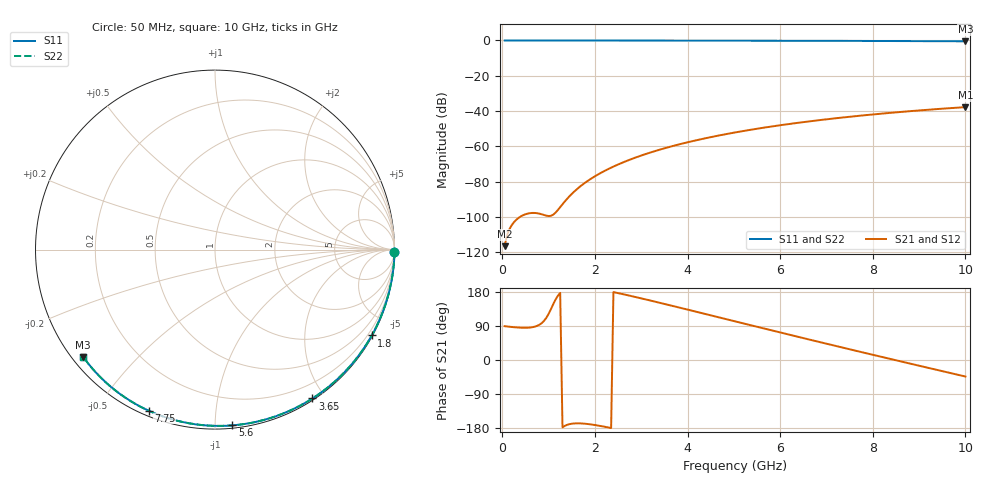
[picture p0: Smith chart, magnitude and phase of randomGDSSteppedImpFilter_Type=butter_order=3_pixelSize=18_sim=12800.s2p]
! freq	dB(S11)	phase(S11)	dB(S12)	phase(S12)
!  dB(S21)	phase(S21)	dB(S22)	phase(S22)
!S-par simulation data
#  GHz  S  DB  R 50
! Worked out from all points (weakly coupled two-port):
!   200 points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, 50 MHz to 10 GHz, reference 50 ohm
!   highest |S21| = -37.79 dB at 10 GHz (marker M1); lowest = -116.6 dB at 50 MHz (marker M2)
!   lowest |S11| = -0.5 dB at 10 GHz (marker M3), VSWR 36.55, Z = 1.54 - j17.8 ohm
!   |S11| at or under -10 dB: nowhere
!   |S22| runs from -0.5 to 0.0 dB; largest |S21 - S12| = 0
!   S11 on the Smith chart (normalised r, x): 50 MHz: open; 1.8 GHz: 0.03, -3.91; 3.65 GHz: 0.02, -1.85; 5.6 GHz: 0.02, -1.10; 7.75 GHz: 0.02, -0.67; 10 GHz: 0.03, -0.36
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0.05  -0.00 -0.8  -116.60 89.3  -116.60 89.3  -0.00 -0.8
0.45  -0.01 -7.3  -99.03 85.0  -99.03 85.0  -0.01 -7.3
0.9  -0.02 -14.5  -98.90 103.1  -98.90 103.1  -0.02 -14.5
1.75  -0.04 -27.9  -81.37 -167.8  -81.37 -167.8  -0.04 -27.9
1.8  -0.04 -28.7  -80.41 -168.3  -80.41 -168.3  -0.04 -28.7
1.85  -0.04 -29.5  -79.51 -169.0  -79.51 -169.0  -0.04 -29.5
2.05  -0.04 -32.6  -76.22 -172.6  -76.22 -172.6  -0.04 -32.6
2.2  -0.04 -34.9  -74.06 -175.9  -74.06 -175.9  -0.04 -34.9
2.55  -0.05 -40.3  -69.73 175.2  -69.73 175.2  -0.05 -40.3
2.95  -0.06 -46.4  -65.68 164.1  -65.68 164.1  -0.06 -46.4
3.4  -0.07 -53.1  -61.89 151.0  -61.89 151.0  -0.07 -53.1
3.65  -0.08 -56.8  -60.05 143.5  -60.05 143.5  -0.08 -56.8
4.3  -0.09 -66.2  -55.92 124.0  -55.92 124.0  -0.09 -66.2
5.05  -0.12 -76.8  -52.03 101.3  -52.03 101.3  -0.12 -76.8
5.6  -0.14 -84.3  -49.62 84.7  -49.62 84.7  -0.14 -84.3
6.15  -0.16 -91.7  -47.51 68.2  -47.51 68.2  -0.16 -91.7
6.7  -0.19 -98.9  -45.63 51.8  -45.63 51.8  -0.19 -98.9
7.2  -0.22 -105.4  -44.10 37.1  -44.10 37.1  -0.22 -105.4
7.75  -0.26 -112.4  -42.58 21.0  -42.58 21.0  -0.26 -112.4
8.35  -0.31 -120.0  -41.09 3.6  -41.09 3.6  -0.31 -120.0
9.15  -0.38 -130.0  -39.36 -19.4  -39.36 -19.4  -0.38 -130.0
10  -0.48 -140.9  -37.79 -43.6  -37.79 -43.6  -0.48 -140.9
